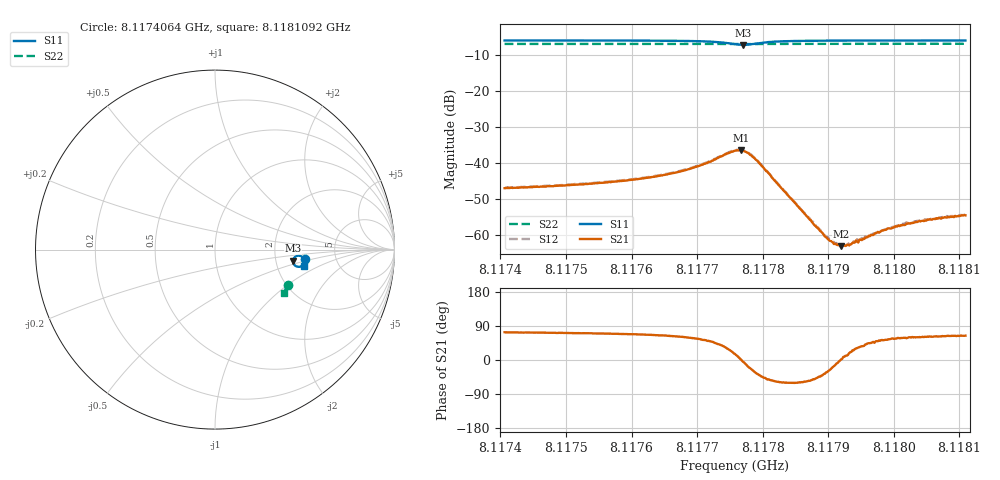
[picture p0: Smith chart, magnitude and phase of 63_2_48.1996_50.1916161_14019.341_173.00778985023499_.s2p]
#  HZ  S  RI  R  50.00
! Rohde & Schwarz Vector Network Analyzer
! Rohde-Schwarz,ZNB20-2Port,1311601062101988,3.16
! Created: UTC 3/20/2024, 11:38:51 AM
! freq[Hz]  re:S11  im:S11  re:S21  im:S21  re:S12  im:S12  re:S22  im:S22
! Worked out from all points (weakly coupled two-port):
!   401 points, 8.1174064 GHz to 8.1181092 GHz, reference 50 ohm
!   highest |S21| = -36.50 dB at 8.1177666 GHz (marker M1); lowest = -63.2 dB at 8.1179194 GHz (marker M2)
!   lowest |S11| = -7.2 dB at 8.1177701 GHz (marker M3), VSWR 2.56, Z = 125 - j19 ohm
!   |S11| at or under -10 dB: nowhere
!   |S22| runs from -6.9 to -6.9 dB; largest |S21 - S12| = 0.00047
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8.11740635e9  0.5028 -0.0497  0.00128 0.00424  0.00138 0.00432  0.407 -0.196
8.11752408e9  0.5009 -0.061  0.00168 0.00472  0.00174 0.00482  0.4038 -0.2036
8.1175891e9  0.4989 -0.0685  0.00204 0.00523  0.00216 0.00533  0.4017 -0.2077
8.11764181e9  0.4959 -0.076  0.00276 0.00598  0.00286 0.00606  0.4001 -0.2112
8.11769452e9  0.4878 -0.0871  0.00458 0.0072  0.00476 0.0073  0.3982 -0.2148
8.11771737e9  0.4792 -0.093  0.00652 0.00792  0.00669 0.0079  0.3969 -0.2165
8.11773845e9  0.4633 -0.096  0.00984 0.0076  0.0102 0.0076  0.3957 -0.2175
8.11775778e9  0.4408 -0.0836  0.0142 0.004  0.0146 0.00389  0.3942 -0.2179
8.11776656e9  0.4347 -0.0684  0.015 0.000508  0.0151 0.000223  0.394 -0.2176
8.11777008e9  0.4345 -0.0614  0.0146 -0.00117  0.0149 -0.00124  0.3937 -0.2176
8.11778062e9  0.4434 -0.0432  0.0121 -0.00471  0.0123 -0.00498  0.3941 -0.2175
8.11779468e9  0.4633 -0.0338  0.00759 -0.00635  0.00767 -0.00646  0.3947 -0.2182
8.11782631e9  0.4885 -0.0434  0.00244 -0.00398  0.00245 -0.00407  0.3947 -0.2208
8.11787551e9  0.4972 -0.059  0.000899 -0.00117  0.00091 -0.0012  0.3935 -0.2245
8.11789835e9  0.498 -0.0638  0.000758 -0.000468  0.000778 -0.000488  0.3927 -0.2258
8.11791065e9  0.4984 -0.066  0.000724 -0.000174  0.000732 -0.000185  0.3923 -0.2267
8.11791943e9  0.4984 -0.0675  0.000689 1.35e-05  0.00072 2e-05  0.392 -0.2274
8.11793173e9  0.4986 -0.0694  0.000671 0.000216  0.000707 0.000258  0.3914 -0.2282
8.11799323e9  0.4983 -0.0774  0.000706 0.000995  0.000713 0.000983  0.3895 -0.2322
8.11801608e9  0.4982 -0.0799  0.000709 0.00115  0.000735 0.00118  0.3888 -0.2337
8.11803892e9  0.4978 -0.0824  0.000754 0.00134  0.000777 0.00137  0.388 -0.235
8.1181092e9  0.497 -0.0891  0.000806 0.00167  0.000872 0.00169  0.3856 -0.2395
